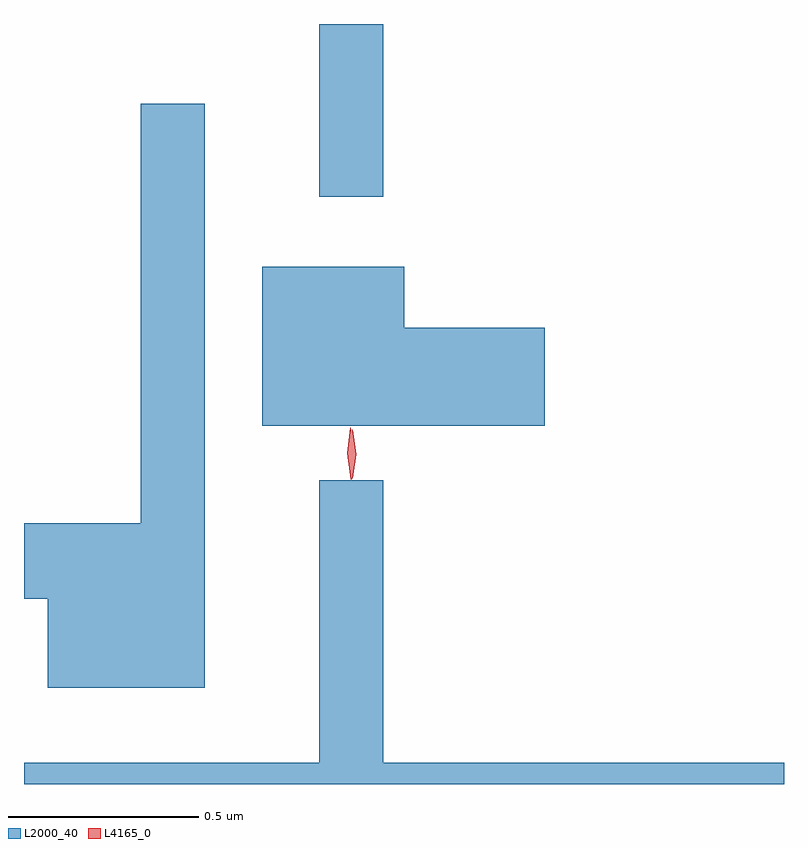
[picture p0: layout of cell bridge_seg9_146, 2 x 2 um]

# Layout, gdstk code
import gdstk
lib = gdstk.Library(unit=1e-6, precision=1e-09)
def R(c, l, rs):  # rectangles x0, y0, x1, y1
    for r in rs: c.add(gdstk.rectangle(r[:2], r[2:], *l))
def P(c, l, *ps):  # polygons
    for p in ps: c.add(gdstk.Polygon(p, *l))
L2000_40 = (2000, 40)
L4165_0 = (4165, 0)

bridge_seg9_146 = lib.new_cell('bridge_seg9_146')
R(bridge_seg9_146, L2000_40, [(1300.851,2071.273,1301.019,2071.728)])
P(bridge_seg9_146, L2000_40, [(1300.549,2071.518),(1300.381,2071.518),(1300.381,2070.414),(1300.074,2070.414),(1300.074,2070.216),(1300.136,2070.216),(1300.136,2069.981),(1300.549,2069.981)],
  [(1301.444,2070.929),(1301.074,2070.929),(1301.074,2071.089),(1300.701,2071.089),(1300.701,2070.671),(1301.444,2070.671)],
  [(1302.074,2069.784),(1301.019,2069.784),(1301.019,2070.528),(1300.851,2070.528),(1300.851,2069.784),(1300.074,2069.784),(1300.074,2069.728),(1302.074,2069.728)])
P(bridge_seg9_146, L4165_0, [(1300.934,2070.53),(1300.924,2070.598),(1300.933,2070.666),(1300.934,2070.666),(1300.934,2070.666),(1300.944,2070.598),(1300.936,2070.53),(1300.935,2070.53)],
  [(1300.938,2070.533),(1300.938,2070.533),(1300.928,2070.596),(1300.938,2070.66),(1300.938,2070.66),(1300.939,2070.66),(1300.948,2070.596),(1300.939,2070.533)])

lib.write_gds('bridge_seg9_146.gds')
